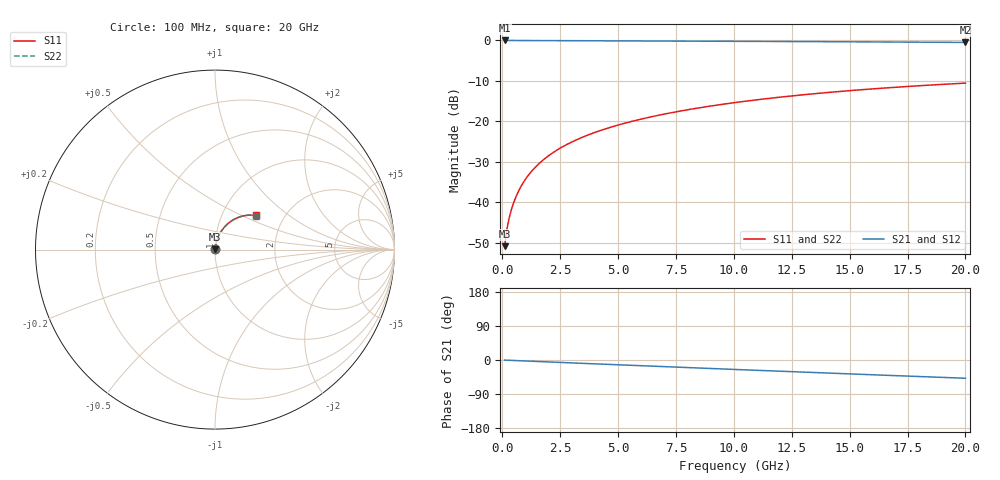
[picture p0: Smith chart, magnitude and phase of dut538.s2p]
! Touchstone file exported from HFSS 2026.1.0
!  File:  C:/ffzhzh/LocalFiles/Ansys_Project_Files/temp_train_BSMRDL_538_1783014882_51716.aedt
!  Generated:  01:56:33 AM Jul  3, 2026
!  Design:  BSMRDL
!  Project:  temp_train_BSMRDL_538_1783014882_51716
! Variables:
!  h_bsmrdl = 5.79um
!  h_ox = 20um
!  h_rdl = 5um
!  h_sub = 80um
!  h_tmrdl = 5um
!  h_tsv = 80um
!  h_via = 3um
!  l_bsmrdl = 788.82um
!  l_sub = 1188.82um
!  l_tmrdl = 200um
!  m_sub = 200um
!  pitch = 50.08um
!  r_tsv = 6um
!  s_tmrdl = 10um
!  w_bsmrdl = 29.99um
!  w_sub = 500um
!  w_tmrdl = 12um
!  x_tsv_center1 = 206um
!  x_tsv_center2 = 1024.81um
!  x_tsv_center3 = 1236.81um
!  x_tsv_center4 = 2055.62um
!  x_tsv_center5 = 2267.62um
!  x_tsv_center6 = 3086.43um
# GHz S MA R 50.000000
! Terminal data exported
! Port[1] = BSM_RDL1_1_T1
! Port[2] = BSM_RDL1_1_T2
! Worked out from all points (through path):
!   200 points, 100 MHz to 20 GHz, reference 50 ohm
!   highest |S21| = -0.02 dB at 100 MHz (marker M1); lowest = -0.5 dB at 20 GHz (marker M2)
!   group delay of S21, straight-line fit = 6.68 ps
!   lowest |S11| = -50.8 dB at 100 MHz (marker M3), VSWR 1.01, Z = 50.2 + j0.219 ohm
!   |S11| at or under -10 dB: start of sweep to end of sweep
!   |S22| runs from -50.8 to -10.6 dB; largest |S21 - S12| = 1.4e-14
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0.1  0.00288 49.1  0.9981 -0.3  0.9981 -0.3  0.00288 49.1
! Gamma 0 0 0 0
! Port Impedance 50 0 50 0
0.2  0.004672 62.8  0.9979 -0.5  0.9979 -0.5  0.004672 62.8
0.3  0.006466 68.8  0.9978 -0.8  0.9978 -0.8  0.006466 68.8
0.4  0.008263 72.3  0.9977 -1.0  0.9977 -1.0  0.008263 72.3
0.5  0.01008 74.6  0.9976 -1.3  0.9976 -1.3  0.01008 74.6
0.6  0.0119 76.2  0.9975 -1.6  0.9975 -1.6  0.0119 76.2
0.7  0.01374 77.4  0.9974 -1.8  0.9974 -1.8  0.01374 77.4
0.9  0.01744 78.8  0.9972 -2.3  0.9972 -2.3  0.01744 78.8
1.1  0.02115 79.5  0.997 -2.8  0.997 -2.8  0.02115 79.5
1.5  0.02855 79.8  0.9965 -3.9  0.9965 -3.9  0.02855 79.8
1.8  0.03406 79.7  0.9961 -4.6  0.9961 -4.6  0.03406 79.7
2.1  0.03952 79.3  0.9956 -5.4  0.9956 -5.4  0.03952 79.3
2.7  0.05032 78.3  0.9945 -6.9  0.9945 -6.9  0.05032 78.3
3.5  0.06442 76.7  0.993 -8.9  0.993 -8.9  0.06442 76.7
4.2  0.07652 75.2  0.9915 -10.7  0.9915 -10.7  0.07652 75.2
5  0.09011 73.5  0.9898 -12.6  0.9898 -12.6  0.09012 73.4
6.8  0.1199 69.5  0.9855 -17.1  0.9855 -17.1  0.1199 69.4
8.3  0.1439 66.1  0.9816 -20.7  0.9816 -20.7  0.1439 66.1
10.1  0.1715 62.0  0.9765 -25.1  0.9765 -25.1  0.1715 62.0
13.4  0.2186 54.6  0.966 -32.9  0.966 -32.9  0.2187 54.5
16.7  0.2605 47.2  0.9549 -40.6  0.9549 -40.6  0.2606 47.1
20  0.2968 39.9  0.9438 -48.1  0.9438 -48.1  0.2968 39.8
